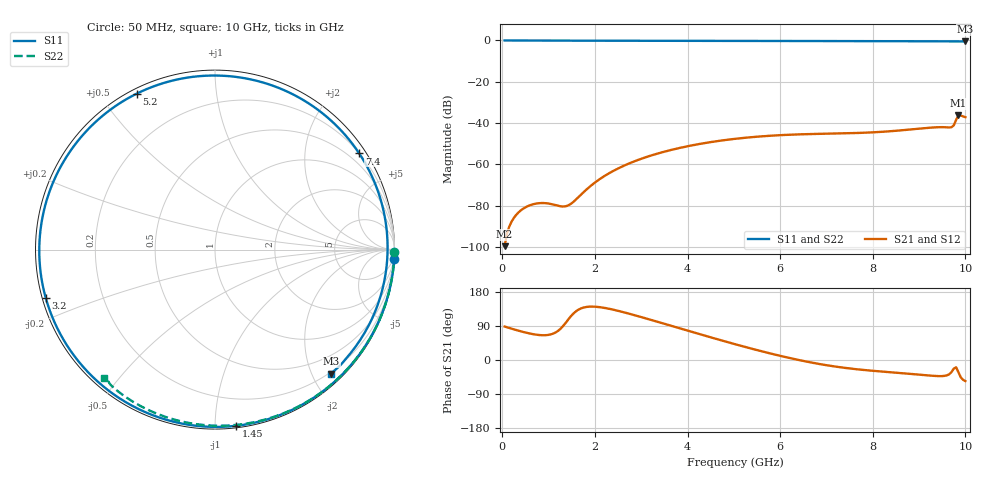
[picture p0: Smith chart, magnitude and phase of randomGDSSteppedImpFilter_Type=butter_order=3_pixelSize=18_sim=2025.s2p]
! freq	dB(S11)	phase(S11)	dB(S12)	phase(S12)
!  dB(S21)	phase(S21)	dB(S22)	phase(S22)
!S-par simulation data
#  GHz  S  DB  R 50
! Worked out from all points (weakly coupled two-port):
!   200 points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, 50 MHz to 10 GHz, reference 50 ohm
!   highest |S21| = -36.28 dB at 9.85 GHz (marker M1); lowest = -99.6 dB at 50 MHz (marker M2)
!   lowest |S11| = -0.5 dB at 10 GHz (marker M3), VSWR 36.54, Z = 8.62 - j115 ohm
!   |S11| at or under -10 dB: nowhere
!   |S22| runs from -0.6 to 0.0 dB; largest |S21 - S12| = 0
!   S11 on the Smith chart (normalised r, x): 50 MHz: 0, -38; 1.45 GHz: 0.01, -1.13; 3.2 GHz: 0.01, -0.14; 5.2 GHz: 0.02, +0.62; 7.4 GHz: 0.21, +3.29; 10 GHz: 0.17, -2.30
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0.05  -0.00 -3.0  -99.62 88.3  -99.62 88.3  -0.00 -0.8
0.4  -0.04 -24.0  -82.30 75.6  -82.30 75.6  -0.01 -6.1
0.8  -0.06 -47.4  -78.79 65.9  -78.79 65.9  -0.02 -12.1
1.15  -0.08 -67.1  -79.73 72.6  -79.73 72.6  -0.02 -17.3
1.45  -0.10 -83.2  -79.57 110.8  -79.57 110.8  -0.03 -21.8
1.75  -0.11 -98.5  -73.58 138.3  -73.58 138.3  -0.03 -26.2
2.1  -0.13 -115.6  -67.20 139.5  -67.20 139.5  -0.04 -31.4
2.5  -0.15 -134.0  -61.99 129.8  -61.99 129.8  -0.05 -37.1
3.2  -0.17 -164.2  -55.81 106.3  -55.81 106.3  -0.06 -47.1
3.4  -0.18 -172.4  -54.47 99.1  -54.47 99.1  -0.07 -49.9
4.2  -0.21 155.5  -50.36 70.4  -50.36 70.4  -0.09 -60.9
5.05  -0.24 122.4  -47.58 40.9  -47.58 40.9  -0.11 -72.2
5.2  -0.24 116.6  -47.22 35.9  -47.22 35.9  -0.12 -74.2
5.95  -0.27 87.7  -45.92 12.4  -45.92 12.4  -0.14 -83.8
6.7  -0.29 59.3  -45.30 -7.3  -45.30 -7.3  -0.18 -93.1
7.4  -0.30 33.7  -44.97 -20.8  -44.97 -20.8  -0.22 -101.5
8.35  -0.34 1.4  -44.01 -32.0  -44.01 -32.0  -0.29 -112.6
8.95  -0.38 -17.4  -42.82 -38.1  -42.82 -38.1  -0.34 -119.5
9.7  -0.45 -38.8  -42.03 -31.9  -42.03 -31.9  -0.46 -128.5
9.75  -0.45 -40.1  -41.09 -22.6  -41.09 -22.6  -0.51 -129.1
9.85  -0.44 -42.9  -36.28 -32.8  -36.28 -32.8  -0.60 -129.2
10  -0.48 -46.9  -37.17 -55.6  -37.17 -55.6  -0.47 -130.8
